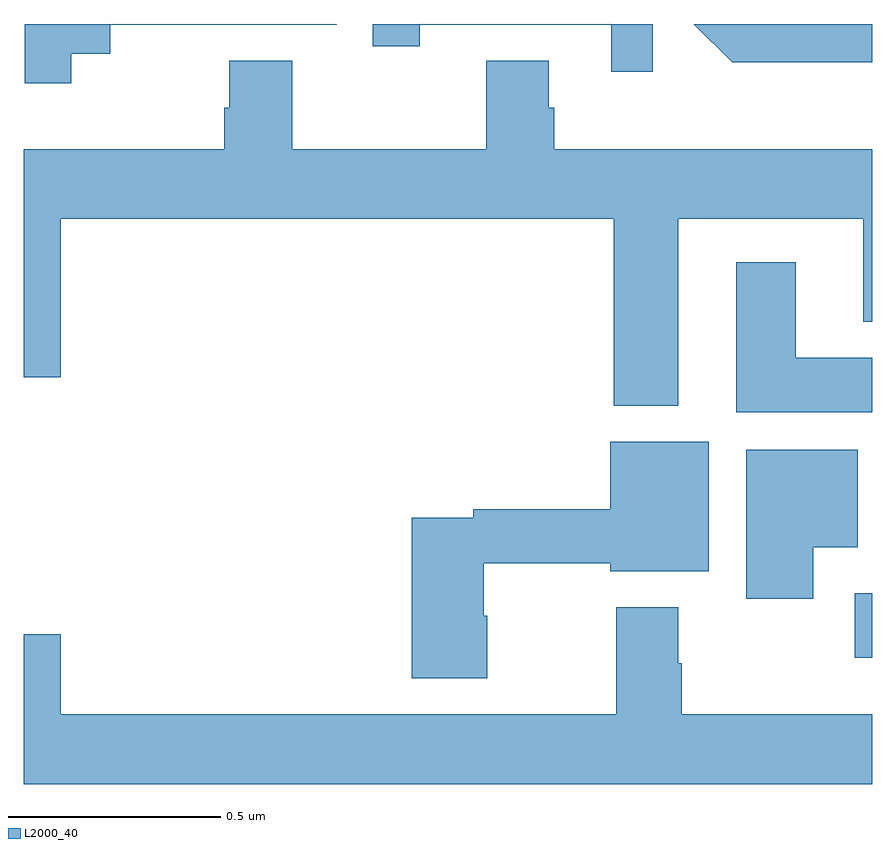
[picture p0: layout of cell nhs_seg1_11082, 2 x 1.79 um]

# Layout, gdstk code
import gdstk
lib = gdstk.Library(unit=1e-6, precision=1e-09)
def R(c, l, rs):  # rectangles x0, y0, x1, y1
    for r in rs: c.add(gdstk.rectangle(r[:2], r[2:], *l))
def P(c, l, *ps):  # polygons
    for p in ps: c.add(gdstk.Polygon(p, *l))
L2000_40 = (2000, 40)

nhs_seg1_11082 = lib.new_cell('nhs_seg1_11082')
R(nhs_seg1_11082, L2000_40, [(250.959,542.705,251,542.857)])
P(nhs_seg1_11082, L2000_40, [(251,544.199),(250.579,544.199),(250.67,544.109),(251,544.109)],
  [(249.112,544.129),(249.204,544.129),(249.204,544.197),(249.738,544.197),(249.738,544.199),(249.003,544.199),(249.003,544.059),(249.112,544.059)],
  [(250.482,544.199),(249.823,544.199),(249.823,544.146),(249.934,544.146),(249.934,544.197),(250.385,544.197),(250.385,544.086),(250.482,544.086)],
  [(250.543,543.74),(250.979,543.74),(250.979,543.497),(251,543.497),(251,543.904),(250.25,543.904),(250.25,544.002),(250.237,544.002),(250.237,544.112),(250.09,544.112),(250.09,543.904),(249.633,543.904),(249.633,544.112),(249.485,544.112),(249.485,544.002),(249.473,544.002),(249.473,543.904),(249,543.904),(249,543.366),(249.088,543.366),(249.088,543.74),(250.391,543.74),(250.391,543.299),(250.543,543.299)],
  [(251,543.412),(250.819,543.412),(250.819,543.637),(250.679,543.637),(250.679,543.284),(251,543.284)],
  [(250.092,542.805),(250.084,542.805),(250.084,542.928),(250.382,542.928),(250.382,542.909),(250.615,542.909),(250.615,543.214),(250.382,543.214),(250.382,543.056),(250.06,543.056),(250.06,543.036),(249.914,543.036),(249.914,542.657),(250.092,542.657)],
  [(250.861,542.966),(250.966,542.966),(250.966,543.196),(250.703,543.196),(250.703,542.844),(250.861,542.844)],
  [(251,542.572),(250.551,542.572),(250.551,542.693),(250.543,542.693),(250.543,542.824),(250.396,542.824),(250.396,542.572),(249.088,542.572),(249.088,542.761),(249,542.761),(249,542.408),(251,542.408)])

lib.write_gds('nhs_seg1_11082.gds')
